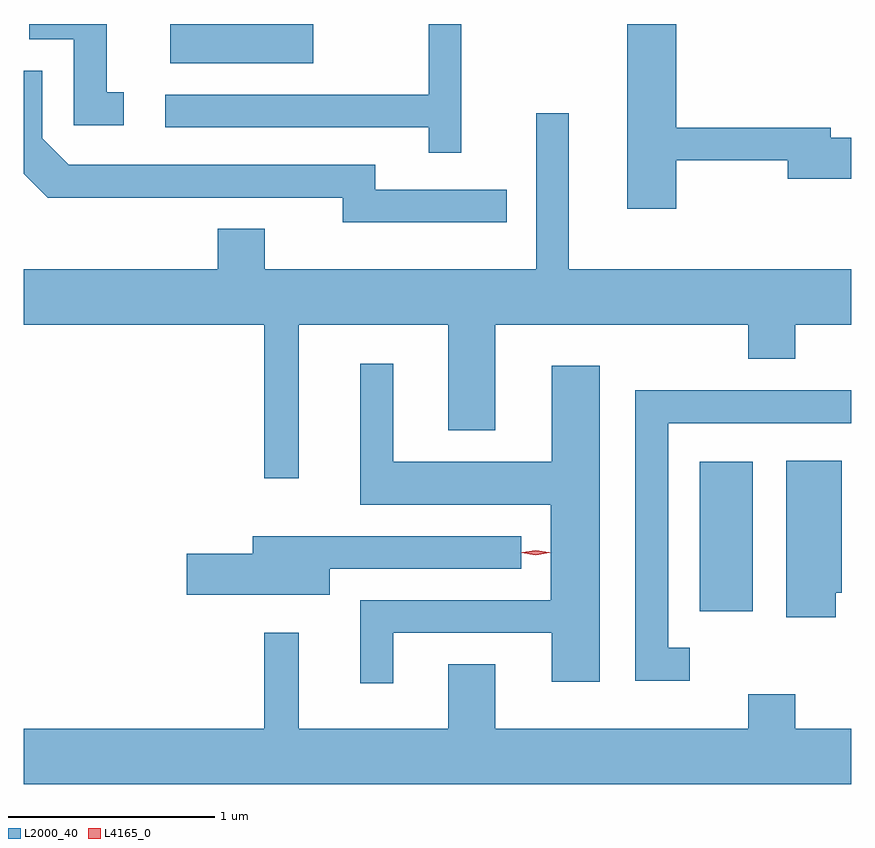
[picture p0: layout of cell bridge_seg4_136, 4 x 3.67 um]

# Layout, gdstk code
import gdstk
lib = gdstk.Library(unit=1e-6, precision=1e-09)
def R(c, l, rs):  # rectangles x0, y0, x1, y1
    for r in rs: c.add(gdstk.rectangle(r[:2], r[2:], *l))
def P(c, l, *ps):  # polygons
    for p in ps: c.add(gdstk.Polygon(p, *l))
L2000_40 = (2000, 40)
L4165_0 = (4165, 0)

bridge_seg4_136 = lib.new_cell('bridge_seg4_136')
R(bridge_seg4_136, L2000_40, [(781.336,1295.571,781.594,1296.294), (778.776,1298.221,779.469,1298.41)])
P(bridge_seg4_136, L2000_40, [(780.184,1298.41),(780.026,1298.41),(780.026,1298.069),(778.753,1298.069),(778.753,1297.911),(780.026,1297.911),(780.026,1297.788),(780.184,1297.788)],
  [(781.224,1297.751),(781.761,1297.751),(781.761,1297.661),(782.069,1297.661),(782.069,1297.859),(781.969,1297.859),(781.969,1297.909),(781.224,1297.909),(781.224,1298.41),(780.986,1298.41),(780.986,1297.516),(781.224,1297.516)],
  [(778.553,1298.079),(778.469,1298.079),(778.469,1298.41),(778.096,1298.41),(778.096,1298.336),(778.311,1298.336),(778.311,1297.921),(778.553,1297.921)],
  [(780.403,1297.609),(779.769,1297.609),(779.769,1297.729),(778.287,1297.729),(778.159,1297.857),(778.159,1298.184),(778.069,1298.184),(778.069,1297.686),(778.184,1297.571),(779.611,1297.571),(779.611,1297.451),(780.403,1297.451)],
  [(779.399,1296.956),(780.121,1296.956),(780.121,1296.446),(780.349,1296.446),(780.349,1296.956),(781.571,1296.956),(781.571,1296.791),(781.799,1296.791),(781.799,1296.956),(782.069,1296.956),(782.069,1297.224),(780.704,1297.224),(780.704,1297.978),(780.546,1297.978),(780.546,1297.224),(779.234,1297.224),(779.234,1297.419),(779.006,1297.419),(779.006,1297.224),(778.069,1297.224),(778.069,1296.956),(779.231,1296.956),(779.231,1296.213),(779.399,1296.213)],
  [(779.854,1295.466),(780.621,1295.466),(780.621,1295.231),(780.854,1295.231),(780.854,1296.759),(780.621,1296.759),(780.621,1296.294),(779.854,1296.294),(779.854,1296.768),(779.696,1296.768),(779.696,1296.086),(780.616,1296.086),(780.616,1295.624),(779.696,1295.624),(779.696,1295.223),(779.854,1295.223)],
  [(781.288,1295.394),(781.184,1295.394),(781.184,1296.481),(782.069,1296.481),(782.069,1296.639),(781.026,1296.639),(781.026,1295.236),(781.288,1295.236)],
  [(781.994,1295.661),(782.024,1295.661),(782.024,1296.299),(781.756,1296.299),(781.756,1295.541),(781.994,1295.541)],
  [(779.549,1295.776),(780.473,1295.776),(780.473,1295.934),(779.176,1295.934),(779.176,1295.849),(778.856,1295.849),(778.856,1295.651),(779.549,1295.651)],
  [(782.069,1295.004),(781.799,1295.004),(781.799,1295.169),(781.571,1295.169),(781.571,1295.004),(780.349,1295.004),(780.349,1295.314),(780.121,1295.314),(780.121,1295.004),(779.399,1295.004),(779.399,1295.468),(779.231,1295.468),(779.231,1295.004),(778.069,1295.004),(778.069,1294.736),(782.069,1294.736)])
P(bridge_seg4_136, L4165_0, [(780.543,1295.843),(780.474,1295.853),(780.474,1295.853),(780.474,1295.854),(780.543,1295.863),(780.612,1295.854),(780.613,1295.853),(780.612,1295.853)],
  [(780.544,1295.845),(780.478,1295.854),(780.477,1295.855),(780.478,1295.856),(780.544,1295.865),(780.609,1295.856),(780.61,1295.855),(780.609,1295.854)])

lib.write_gds('bridge_seg4_136.gds')
